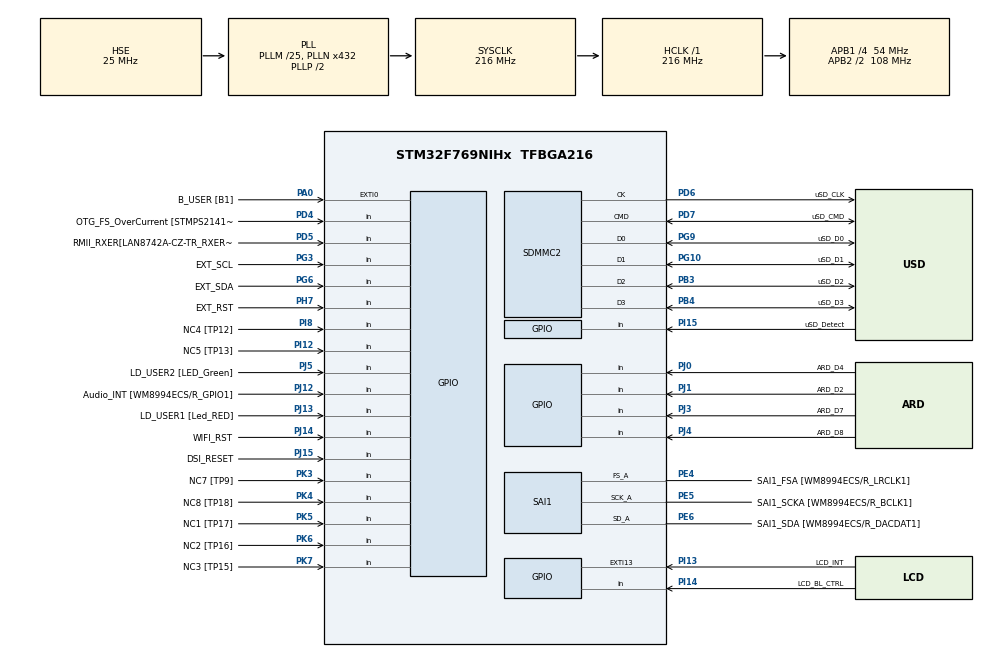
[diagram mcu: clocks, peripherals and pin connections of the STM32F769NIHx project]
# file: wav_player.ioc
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DSIHOST_CKN.GPIO_Label=DSI_CK_N
DSIHOST_CKN.Signal=DSIHOST_CKN
DSIHOST_CKP.GPIO_Label=DSI_CK_P
DSIHOST_CKP.Signal=DSIHOST_CKP
DSIHOST_D0N.GPIO_Label=DSI_D0_N
DSIHOST_D0N.Signal=DSIHOST_D0N
DSIHOST_D0P.GPIO_Label=DSI_D0_p
DSIHOST_D0P.Signal=DSIHOST_D0P
DSIHOST_D1N.GPIO_Label=DSI_D1_N
DSIHOST_D1N.Signal=DSIHOST_D1N
DSIHOST_D1P.GPIO_Label=DSI_D1_P
DSIHOST_D1P.Signal=DSIHOST_D1P
Dma.Request0=SDMMC2_RX
Dma.Request1=SDMMC2_TX
Dma.Request2=SAI1_A
Dma.SAI1_A.2.Direction=DMA_MEMORY_TO_PERIPH
Dma.SAI1_A.2.FIFOMode=DMA_FIFOMODE_DISABLE
Dma.SAI1_A.2.Instance=DMA2_Stream1
Dma.SAI1_A.2.MemDataAlignment=DMA_MDATAALIGN_HALFWORD
Dma.SAI1_A.2.MemInc=DMA_MINC_ENABLE
Dma.SAI1_A.2.Mode=DMA_CIRCULAR
Dma.SAI1_A.2.PeriphDataAlignment=DMA_PDATAALIGN_HALFWORD
Dma.SAI1_A.2.PeriphInc=DMA_PINC_DISABLE
Dma.SAI1_A.2.Priority=DMA_PRIORITY_LOW
Dma.SDMMC2_RX.0.Direction=DMA_PERIPH_TO_MEMORY
Dma.SDMMC2_RX.0.FIFOMode=DMA_FIFOMODE_ENABLE
Dma.SDMMC2_RX.0.FIFOThreshold=DMA_FIFO_THRESHOLD_FULL
Dma.SDMMC2_RX.0.Instance=DMA2_Stream0
Dma.SDMMC2_RX.0.MemBurst=DMA_MBURST_INC4
Dma.SDMMC2_RX.0.MemDataAlignment=DMA_MDATAALIGN_WORD
Dma.SDMMC2_RX.0.MemInc=DMA_MINC_ENABLE
Dma.SDMMC2_RX.0.Mode=DMA_PFCTRL
Dma.SDMMC2_RX.0.PeriphBurst=DMA_PBURST_INC4
Dma.SDMMC2_RX.0.PeriphDataAlignment=DMA_PDATAALIGN_WORD
Dma.SDMMC2_RX.0.PeriphInc=DMA_PINC_DISABLE
Dma.SDMMC2_RX.0.Priority=DMA_PRIORITY_LOW
Dma.SDMMC2_TX.1.Direction=DMA_MEMORY_TO_PERIPH
Dma.SDMMC2_TX.1.FIFOMode=DMA_FIFOMODE_ENABLE
Dma.SDMMC2_TX.1.FIFOThreshold=DMA_FIFO_THRESHOLD_FULL
Dma.SDMMC2_TX.1.Instance=DMA2_Stream5
Dma.SDMMC2_TX.1.MemBurst=DMA_MBURST_INC4
Dma.SDMMC2_TX.1.MemDataAlignment=DMA_MDATAALIGN_WORD
Dma.SDMMC2_TX.1.MemInc=DMA_MINC_ENABLE
Dma.SDMMC2_TX.1.Mode=DMA_PFCTRL
Dma.SDMMC2_TX.1.PeriphBurst=DMA_PBURST_INC4
Dma.SDMMC2_TX.1.PeriphDataAlignment=DMA_PDATAALIGN_WORD
Dma.SDMMC2_TX.1.PeriphInc=DMA_PINC_DISABLE
Dma.SDMMC2_TX.1.Priority=DMA_PRIORITY_LOW
FATFS.BSP.number=1
FATFS.USE_DMA_CODE_SD=1
FATFS._LFN_UNICODE=0
FATFS._USE_LFN=3
FATFS._USE_MUTEX=1
FATFS0.BSP.STBoard=false
FATFS0.BSP.api=Unknown
FATFS0.BSP.i2caddr=0
FATFS0.BSP.instance=PI15
FATFS0.BSP.ip=GPIO
FATFS0.BSP.mode=Input
FATFS0.BSP.name=Detect_SDIO
FATFS0.BSP.solution=PI15
FREERTOS.Tasks01=defaultTask,24,2048,StartDefaultTask,Default,NULL,Dynamic,NULL,NULL
FREERTOS.configUSE_NEWLIB_REENTRANT=1
Mcu.Family=STM32F7
Mcu.Name=STM32F769NIHx
Mcu.Package=TFBGA216
NVIC.DMA2_Stream0_IRQn=true\:5\:0\:false\:false\:true\:true\:false\:true
NVIC.DMA2_Stream1_IRQn=true\:5\:0\:false\:false\:true\:true\:false\:true
NVIC.DMA2_Stream5_IRQn=true\:5\:0\:false\:false\:true\:true\:false\:true
NVIC.PriorityGroup=NVIC_PRIORITYGROUP_4
NVIC.SAI1_IRQn=true\:5\:0\:false\:false\:true\:true\:true\:true
NVIC.SDMMC2_IRQn=true\:5\:0\:false\:false\:true\:true\:true\:true
NVIC.TIM6_DAC_IRQn=true\:15\:0\:false\:false\:true\:false\:false\:true
NVIC.TimeBase=TIM6_DAC_IRQn
NVIC.TimeBaseIP=TIM6
PA0/WKUP.GPIO_Label=B_USER [B1]
PA0/WKUP.Signal=GPXTI0
PA1.GPIO_Label=RMII_REF_CLK [LAN8742A-CZ-TR_REFCLK0]
PA1.Signal=ETH_REF_CLK
PA10.GPIO_Label=VCP_RX 
PA10.Signal=USART1_RX
PA11.GPIO_Label=SPI2_NSS
PA11.Signal=SPI2_NSS
PA12.GPIO_Label=ARD_D13/SCK
PA12.GPIO_Mode=GPIO_MODE_AF_PP
PA12.GPIO_PuPd=GPIO_NOPULL
PA12.GPIO_Speed=GPIO_SPEED_FREQ_LOW
PA12.Signal=SPI2_SCK
PA13.GPIO_Label=SWDIO
PA13.Signal=SYS_JTMS-SWDIO
PA14.GPIO_Label=SWCLK
PA14.Signal=SYS_JTCK-SWCLK
PA15.GPIO_Label=CEC
PA15.Signal=CEC
PA2.GPIO_Label=RMII_MDIO [LAN8742A-CZ-TR_MDIO]
PA2.Signal=ETH_MDIO
PA3.GPIO_Label=ULPI_D0 [USB3320C-EZK_D0]
PA3.Signal=USB_OTG_HS_ULPI_D0
PA4.GPIO_Label=ARD_A1
PA4.Signal=ADCx_IN4
PA5.GPIO_Label=ULPI_CLK [USB3320C-EZK_CLKOUT]
PA5.Signal=USB_OTG_HS_ULPI_CK
PA6.GPIO_Label=ARD_A0
PA6.Signal=ADCx_IN6
PA7.GPIO_Label=RMII_CRS_DV [LAN8742A-CZ-TR_CRS_DV]
PA7.Signal=ETH_CRS_DV
PA8.GPIO_Label=CEC_CLK [TP2]
PA8.Signal=RCC_MCO_1
PA9.GPIO_Label=VCP_TX [STM32F103CBT6_PA3]
PA9.GPIO_Mode=GPIO_MODE_AF_PP
PA9.GPIO_PuPd=GPIO_NOPULL
PA9.GPIO_Speed=GPIO_SPEED_FREQ_LOW
PA9.Signal=USART1_TX
PB0.GPIO_Label=ULPI_D1 [USB3320C-EZK_D1]
PB0.Signal=USB_OTG_HS_ULPI_D1
PB1.GPIO_Label=ULPI_D2 [USB3320C-EZK_D2]
PB1.Signal=USB_OTG_HS_ULPI_D2
PB10.GPIO_Label=ULPI_D3 [USB3320C-EZK_D3]
PB10.Signal=USB_OTG_HS_ULPI_D3
PB11.GPIO_Label=ULPI_D4 [USB3320C-EZK_D4]
PB11.Signal=USB_OTG_HS_ULPI_D4
PB12.GPIO_Label=ULPI_D5 [USB3320C-EZK_D5]
PB12.Signal=USB_OTG_HS_ULPI_D5
PB13.GPIO_Label=ULPI_D6 [USB3320C-EZK_D6]
PB13.Signal=USB_OTG_HS_ULPI_D6
PB14.GPIO_Label=ARDUINO MISO/D12
PB14.GPIO_Mode=GPIO_MODE_AF_PP
PB14.GPIO_PuPd=GPIO_NOPULL
PB14.GPIO_Speed=GPIO_SPEED_FREQ_LOW
PB14.Signal=SPI2_MISO
PB15.GPIO_Label=ARDUINO MOSI/PWM/D11
PB15.GPIO_Mode=GPIO_MODE_AF_PP
PB15.GPIO_PuPd=GPIO_NOPULL
PB15.GPIO_Speed=GPIO_SPEED_FREQ_LOW
PB15.Signal=SPI2_MOSI
PB2.Signal=QUADSPI_CLK
PB3.GPIO_Label=uSD_D2
PB3.Mode=SD_4_bits_Wide_bus
PB3.Signal=SDMMC2_D2
PB4.GPIO_Label=uSD_D3
PB4.Mode=SD_4_bits_Wide_bus
PB4.Signal=SDMMC2_D3
PB5.GPIO_Label=ULPI_D7 [USB3320C-EZK_D7]
PB5.Signal=USB_OTG_HS_ULPI_D7
PB6.GPIO_Label=QSPI_NCS [N25Q128A13EF840E_S]
PB6.Signal=QUADSPI_BK1_NCS
PB7.GPIO_Label=AUDIO_SDA [WM8994ECS/R_SDA]
PB7.Signal=I2C4_SDA
PB8.GPIO_Label=ARDUINO SCL/D15
PB8.GPIO_Mode=GPIO_MODE_AF_OD
PB8.GPIO_PuPd=GPIO_NOPULL
PB8.GPIO_Speed=GPIO_SPEED_FREQ_LOW
PB8.Signal=I2C1_SCL
PB9.GPIO_Label=ARDUINO SDA/D14
PB9.GPIO_Mode=GPIO_MODE_AF_OD
PB9.GPIO_PuPd=GPIO_NOPULL
PB9.GPIO_Speed=GPIO_SPEED_FREQ_LOW
PB9.Signal=I2C1_SDA
PC0.GPIO_Label=ULPI_STP [USB3320C-EZK_STP]
PC0.Signal=USB_OTG_HS_ULPI_STP
PC1.GPIO_Label=RMII_MDC [LAN8742A-CZ-TR_MDC]
PC1.Signal=ETH_MDC
PC10.GPIO_Label=QSPI_D1 [MT25QL512ABB1EW9_DQ1]
PC10.Signal=QUADSPI_BK1_IO1
PC11.GPIO_Label=DFSDM_DATIN5 [TP100]
PC11.Signal=S_DATAIN5DFSDM1
PC12.GPIO_Label=WIFI_RX
PC12.Signal=UART5_TX
PC14/OSC32_IN.GPIO_Label=RCC_OSC32_IN
PC14/OSC32_IN.Signal=RCC_OSC32_IN
PC15/OSC32_OUT.GPIO_Label=RCC_OSC32_OUT
PC15/OSC32_OUT.Signal=RCC_OSC32_OUT
PC2.GPIO_Label=ARD_A2
PC2.Signal=ADCx_IN12
PC3.GPIO_Label=DFSDM_DATIN1 [TP101]
PC3.Signal=S_DATAIN1DFSDM1
PC4.GPIO_Label=RMII_RXD0 [LAN8742A-CZ-TR_RXD0]
PC4.Signal=ETH_RXD0
PC5.GPIO_Label=RMII_RXD1 [LAN8742A-CZ-TR_RXD1]
PC5.Signal=ETH_RXD1
PC6.GPIO_Label=ARDUINO TX/D1
PC6.Signal=USART6_TX
PC7.GPIO_Label=ARD_D0/RX
PC7.Signal=USART6_RX
PC8.GPIO_Label=ARD_D5/PWM
PC8.Signal=S_TIM3_CH3
PC9.GPIO_Label=QSPI_D0 [N25Q128A13EF840E_DQ0]
PC9.Signal=QUADSPI_BK1_IO0
PD0.GPIO_Label=FMC_D2 [MT48LC4M32B2B5-6A_DQ2]
PD0.Signal=FMC_D2_DA2
PD1.GPIO_Label=FMC_D3 [MT48LC4M32B2B5-6A_DQ3]
PD1.Signal=FMC_D3_DA3
PD10.GPIO_Label=FMC_D15 [MT48LC4M32B2B5-6A_DQ15]
PD10.Signal=FMC_D15_DA15
PD11.GPIO_Label=SPDIF_TX [TP20]
PD11.Signal=SAI2_SD_A
PD12.GPIO_Label=AUDIO_SCL [WM8994ECS/R_SCLK]
PD12.Signal=I2C4_SCL
PD13.GPIO_Label=QSPI_D3 [N25Q128A13EF840E_DQ3]
PD13.Signal=QUADSPI_BK1_IO3
PD14.GPIO_Label=FMC_D0 [MT48LC4M32B2B5-6A_DQ0]
PD14.Signal=FMC_D0_DA0
PD15.GPIO_Label=FMC_D1 [MT48LC4M32B2B5-6A_DQ1]
PD15.Signal=FMC_D1_DA1
PD2.GPIO_Label=WIFI_TX
PD2.Signal=UART5_RX
PD3.GPIO_Label=DFSDM_CKOUT [TP102]
PD3.Signal=S_CKOUTDFSDM1
PD4.GPIO_Label=OTG_FS_OverCurrent [STMPS2141STR_Fault]
PD4.Signal=GPIO_Input
PD5.GPIO_Label=RMII_RXER[LAN8742A-CZ-TR_RXERR]
PD5.Signal=GPIO_Input
PD6.GPIO_Label=uSD_CLK
PD6.Mode=SD_4_bits_Wide_bus
PD6.Signal=SDMMC2_CK
PD7.GPIO_Label=uSD_CMD
PD7.Mode=SD_4_bits_Wide_bus
PD7.Signal=SDMMC2_CMD
PD8.GPIO_Label=FMC_D13 [MT48LC4M32B2B5-6A_DQ13]
PD8.Signal=FMC_D13_DA13
PD9.GPIO_Label=FMC_D14 [MT48LC4M32B2B5-6A_DQ14]
PD9.Signal=FMC_D14_DA14
PE0.GPIO_Label=FMC_NBL0 [MT48LC4M32B2B5-6A_DQM0]
PE0.Signal=FMC_NBL0
PE1.GPIO_Label=FMC_NBL1 [MT48LC4M32B2B5-6A_DQM1]
PE1.Signal=FMC_NBL1
PE10.GPIO_Label=FMC_D7 [MT48LC4M32B2B5-6A_DQ7]
PE10.Signal=FMC_D7_DA7
PE11.GPIO_Label=FMC_D8 [MT48LC4M32B2B5-6A_DQ8]
PE11.Signal=FMC_D8_DA8
PE12.GPIO_Label=FMC_D9 [MT48LC4M32B2B5-6A_DQ9]
PE12.Signal=FMC_D9_DA9
PE13.GPIO_Label=FMC_D10 [MT48LC4M32B2B5-6A_DQ10]
PE13.Signal=FMC_D10_DA10
PE14.GPIO_Label=FMC_D11 [MT48LC4M32B2B5-6A_DQ11]
PE14.Signal=FMC_D11_DA11
PE15.GPIO_Label=FMC_D12 [MT48LC4M32B2B5-6A_DQ12]
PE15.Signal=FMC_D12_DA12
PE2.GPIO_Label=QSPI_D2 [N25Q128A13EF840E_DQ2]
PE2.Signal=QUADSPI_BK1_IO2
PE3.GPIO_Label=SAI1_SDB [WM8994ECS/R_ADCDAT1]
PE3.Signal=SAI1_SD_B
PE4.GPIO_Label=SAI1_FSA [WM8994ECS/R_LRCLK1]
PE4.Mode=SAI_A_Master
PE4.Signal=SAI1_FS_A
PE5.GPIO_Label=SAI1_SCKA [WM8994ECS/R_BCLK1]
PE5.Mode=SAI_A_Master
PE5.Signal=SAI1_SCK_A
PE6.GPIO_Label=SAI1_SDA [WM8994ECS/R_DACDAT1]
PE6.Mode=SAI_A_Master
PE6.Signal=SAI1_SD_A
PE7.GPIO_Label=FMC_D4 [MT48LC4M32B2B5-6A_DQ4]
PE7.Signal=FMC_D4_DA4
PE8.GPIO_Label=FMC_D5 [MT48LC4M32B2B5-6A_DQ5]
PE8.Signal=FMC_D5_DA5
PE9.GPIO_Label=FMC_D6 [MT48LC4M32B2B5-6A_DQ6]
PE9.Signal=FMC_D6_DA6
PF0.GPIO_Label=FMC_A0 [MT48LC4M32B2B5-6A_A0]
PF0.Signal=FMC_A0
PF1.GPIO_Label=FMC_A1 [MT48LC4M32B2B5-6A_A1]
PF1.Signal=FMC_A1
PF10.GPIO_Label=ARDUINO A1
PF10.GPIO_Mode=GPIO_MODE_ANALOG
PF10.GPIO_PuPd=GPIO_NOPULL
PF10.Signal=ADC3_IN8
PF11.GPIO_Label=FMC_SDNRAS [MT48LC4M32B2B5-6A_RAS]
PF11.Signal=FMC_SDNRAS
PF12.GPIO_Label=FMC_A6 [MT48LC4M32B2B5-6A_A6]
PF12.Signal=FMC_A6
PF13.GPIO_Label=FMC_A7 [MT48LC4M32B2B5-6A_A7]
PF13.Signal=FMC_A7
PF14.GPIO_Label=FMC_A8 [MT48LC4M32B2B5-6A_A8]
PF14.Signal=FMC_A8
PF15.GPIO_Label=FMC_A9 [MT48LC4M32B2B5-6A_A9]
PF15.Signal=FMC_A9
PF2.GPIO_Label=FMC_A2 [MT48LC4M32B2B5-6A_A2]
PF2.Signal=FMC_A2
PF3.GPIO_Label=FMC_A3 [MT48LC4M32B2B5-6A_A3]
PF3.Signal=FMC_A3
PF4.GPIO_Label=FMC_A4 [MT48LC4M32B2B5-6A_A4]
PF4.Signal=FMC_A4
PF5.GPIO_Label=FMC_A5 [MT48LC4M32B2B5-6A_A5]
PF5.Signal=FMC_A5
PF6.GPIO_Label=ARD_D3/PWM
PF6.Signal=S_TIM10_CH1
PF7.GPIO_Label=ARD_D6/PWM
PF7.Signal=S_TIM11_CH1
PF8.GPIO_Label=ARDUINO A3
PF8.GPIO_Mode=GPIO_MODE_ANALOG
PF8.GPIO_PuPd=GPIO_NOPULL
PF8.Signal=ADC3_IN6
PF9.GPIO_Label=ARDUINO A2
PF9.GPIO_Mode=GPIO_MODE_ANALOG
PF9.GPIO_PuPd=GPIO_NOPULL
PF9.Signal=ADC3_IN7
PG0.GPIO_Label=FMC_A10 [MT48LC4M32B2B5-6A_A10]
PG0.Signal=FMC_A10
PG1.GPIO_Label=FMC_A11 [MT48LC4M32B2B5-6A_A11]
PG1.Signal=FMC_A11
PG10.GPIO_Label=uSD_D1
PG10.Mode=SD_4_bits_Wide_bus
PG10.Signal=SDMMC2_D1
PG11.GPIO_Label=RMII_TX_EN [LAN8742A-CZ-TR_TXEN]
PG11.Signal=ETH_TX_EN
PG12.GPIO_Label=SPDIF_RX [74LVC1G04SE_4]
PG12.Signal=SPDIFRX_IN1
PG13.GPIO_Label=RMII_TXD0 [LAN8742A-CZ-TR_TXD0]
PG13.Signal=ETH_TXD0
PG14.GPIO_Label=RMII_TXD1 [LAN8742A-CZ-TR_TXD1]
PG14.Signal=ETH_TXD1
PG15.GPIO_Label=FMC_SDNCAS [MT48LC4M32B2B5-6A_CAS]
PG15.Signal=FMC_SDNCAS
PG2.GPIO_Label=FMC_A12
PG2.Signal=FMC_A12
PG3.GPIO_Label=EXT_SCL
PG3.Signal=GPIO_Input
PG4.GPIO_Label=FMC_BA0 [MT48LC4M32B2B5-6A_BA0]
PG4.Signal=FMC_A14_BA0
PG5.GPIO_Label=FMC_BA1 [MT48LC4M32B2B5-6A_BA1]
PG5.Signal=FMC_A15_BA1
PG6.GPIO_Label=EXT_SDA
PG6.Signal=GPIO_Input
PG7.GPIO_Label=SAI1_MCLKA [WM8994ECS/R_MCLK1]
PG7.Signal=SAI1_MCLK_A
PG8.GPIO_Label=FMC_SDCLK [MT48LC4M32B2B5-6A_CLK]
PG8.Signal=FMC_SDCLK
PG9.GPIO_Label=uSD_D0
PG9.Mode=SD_4_bits_Wide_bus
PG9.Signal=SDMMC2_D0
PH0/OSC_IN.GPIO_Label=OSC_25M [NZ2520SB-25.00M_OUT]
PH0/OSC_IN.Mode=HSE-External-Oscillator
PH0/OSC_IN.Signal=RCC_OSC_IN
PH1/OSC_OUT.Mode=HSE-External-Oscillator
PH1/OSC_OUT.Signal=RCC_OSC_OUT
PH10.GPIO_Label=FMC_D18 [MT48LC4M32B2B5-6A_DQ18]
PH10.Signal=FMC_D18
PH11.GPIO_Label=FMC_D19 [MT48LC4M32B2B5-6A_DQ19]
PH11.Signal=FMC_D19
PH12.GPIO_Label=D20
PH12.Signal=FMC_D20
PH13.GPIO_Label=D21
PH13.Signal=FMC_D21
PH14.GPIO_Label=D22
PH14.Signal=FMC_D22
PH15.GPIO_Label=D23
PH15.Signal=FMC_D23
PH2.GPIO_Label=FMC_SDCKE0 [MT48LC4M32B2B5-6A_CKE]
PH2.Signal=FMC_SDCKE0
PH3.GPIO_Label=FMC_SDNE0 [MT48LC4M32B2B5-6A_CS]
PH3.Signal=FMC_SDNE0
PH4.GPIO_Label=ULPI_NXT [USB3320C-EZK_NXT]
PH4.Signal=USB_OTG_HS_ULPI_NXT
PH5.GPIO_Label=FMC_SDNME [MT48LC4M32B2B5-6A_WE]
PH5.Signal=FMC_SDNWE
PH6.GPIO_Label=ARDUINO PWM/D6
PH6.Signal=S_TIM12_CH1
PH7.GPIO_Label=EXT_RST
PH7.Signal=GPIO_Input
PH8.GPIO_Label=FMC_D16 [MT48LC4M32B2B5-6A_DQ16]
PH8.Signal=FMC_D16
PH9.GPIO_Label=FMC_D\!7 [MT48LC4M32B2B5-6A_DQ17]
PH9.Signal=FMC_D17
PI0.GPIO_Label=D24
PI0.Signal=FMC_D24
PI1.GPIO_Label=D25
PI1.Signal=FMC_D25
PI10.GPIO_Label=D31
PI10.Signal=FMC_D31
PI11.GPIO_Label=ULPI_DIR [USB3320C-EZK_DIR]
PI11.Signal=USB_OTG_HS_ULPI_DIR
PI12.GPIO_Label=NC5 [TP13]
PI12.Signal=GPIO_Input
PI13.GPIO_Label=LCD_INT
PI13.GPIO_ModeDefaultEXTI=GPIO_MODE_EVT_RISING
PI13.Signal=GPXTI13
PI14.GPIO_Label=LCD_BL_CTRL
PI14.Signal=GPIO_Input
PI15.GPIO_Label=uSD_Detect
PI15.GPIO_PuPd=GPIO_PULLUP
PI15.Signal=GPIO_Input
PI2.GPIO_Label=D26
PI2.Signal=FMC_D26
PI3.GPIO_Label=D27
PI3.Signal=FMC_D27
PI4.GPIO_Label=FMC_NBL2 [MT48LC4M32B2B5-6A_DQM2]
PI4.Signal=FMC_NBL2
PI5.GPIO_Label=FMC_NBL3 [MT48LC4M32B2B5-6A_DQM3]
PI5.Signal=FMC_NBL3
PI6.GPIO_Label=D28
PI6.Signal=FMC_D28
PI7.GPIO_Label=D29
PI7.Signal=FMC_D29
PI8.GPIO_Label=NC4 [TP12]
PI8.Signal=GPIO_Input
PI9.GPIO_Label=D30
PI9.Signal=FMC_D30
PJ0.GPIO_Label=ARD_D4
PJ0.Signal=GPIO_Input
PJ1.GPIO_Label=ARD_D2
PJ1.Signal=GPIO_Input
PJ12.GPIO_Label=Audio_INT [WM8994ECS/R_GPIO1]
PJ12.Signal=GPIO_Input
PJ13.GPIO_Label=LD_USER1 [Led_RED]
PJ13.Signal=GPIO_Input
PJ14.GPIO_Label=WIFI_RST
PJ14.Signal=GPIO_Input
PJ15.GPIO_Label=DSI_RESET
PJ15.Signal=GPIO_Input
PJ2.GPIO_Label=DSIHOST_TE
PJ2.Signal=DSIHOST_TE
PJ3.GPIO_Label=ARD_D7
PJ3.Signal=GPIO_Input
PJ4.GPIO_Label=ARD_D8
PJ4.Signal=GPIO_Input
PJ5.GPIO_Label=LD_USER2 [LED_Green]
PJ5.Signal=GPIO_Input
PK3.GPIO_Label=NC7 [TP9]
PK3.Signal=GPIO_Input
PK4.GPIO_Label=NC8 [TP18]
PK4.Signal=GPIO_Input
PK5.GPIO_Label=NC1 [TP17]
PK5.Signal=GPIO_Input
PK6.GPIO_Label=NC2 [TP16]
PK6.Signal=GPIO_Input
PK7.GPIO_Label=NC3 [TP15]
PK7.Signal=GPIO_Input
ProjectManager.HeapSize=0x400
ProjectManager.StackSize=0x800
ProjectManager.TargetToolchain=STM32CubeIDE
RCC.AHBFreq_Value=216000000
RCC.APB1CLKDivider=RCC_HCLK_DIV4
RCC.APB1Freq_Value=54000000
RCC.APB1TimFreq_Value=108000000
RCC.APB2CLKDivider=RCC_HCLK_DIV2
RCC.APB2Freq_Value=108000000
RCC.APB2TimFreq_Value=216000000
RCC.CortexFreq_Value=216000000
RCC.HCLKFreq_Value=216000000
RCC.HSE_VALUE=25000000
RCC.HSI_VALUE=16000000
RCC.LSE_VALUE=32768
RCC.PLLI2SN=344
RCC.PLLI2SQ=7
RCC.PLLM=25
RCC.PLLN=432
RCC.PLLQ=9
RCC.PLLSAIQ=4
RCC.PLLSourceVirtual=RCC_PLLSOURCE_HSE
RCC.SAI1CLockSelection=RCC_SAI1CLKSOURCE_PLLI2S
RCC.SDMMC2ClockSelection=RCC_SDMMC2CLKSOURCE_CLK48
RCC.SYSCLKFreq_VALUE=216000000
RCC.SYSCLKSource=RCC_SYSCLKSOURCE_PLLCLK
RCC.USBFreq_Value=48000000
RCC.VCOOutputFreq_Value=432000000
SAI1.AudioFrequency-SAI_A_Master=SAI_AUDIO_FREQUENCY_48K
SAI1.ErrorAudioFreq-SAI_A_Master=-2.92 %
SAI1.InitProtocol-SAI_A_Master=Enable
SAI1.Instance-SAI_A_Master=SAI$Index_Block_A
SAI1.MClockEnable-SAI_A_Master=SAI_MASTERCLOCK_DISABLE
SAI1.RealAudioFreq-SAI_A_Master=46.595 KHz
SAI1.VirtualMode-SAI_A_Master=VM_MASTER
SAI1.VirtualProtocol-SAI_A_BASIC=VM_BASIC_PROTOCOL
SH.ADCx_IN12.0=ADC1_IN12
SH.ADCx_IN4.0=ADC1_IN4
SH.ADCx_IN6.0=ADC1_IN6
SH.FMC_A0.0=FMC_A0
SH.FMC_A1.0=FMC_A1
SH.FMC_A10.0=FMC_A10
SH.FMC_A11.0=FMC_A11
SH.FMC_A12.0=FMC_A12
SH.FMC_A14_BA0.0=FMC_BA0
SH.FMC_A15_BA1.0=FMC_BA1
SH.FMC_A2.0=FMC_A2
SH.FMC_A3.0=FMC_A3
SH.FMC_A4.0=FMC_A4
SH.FMC_A5.0=FMC_A5
SH.FMC_A6.0=FMC_A6
SH.FMC_A7.0=FMC_A7
SH.FMC_A8.0=FMC_A8
SH.FMC_A9.0=FMC_A9
SH.FMC_D0_DA0.0=FMC_D0
SH.FMC_D10_DA10.0=FMC_D10
SH.FMC_D11_DA11.0=FMC_D11
SH.FMC_D12_DA12.0=FMC_D12
SH.FMC_D13_DA13.0=FMC_D13
SH.FMC_D14_DA14.0=FMC_D14
SH.FMC_D15_DA15.0=FMC_D15
SH.FMC_D16.0=FMC_D16
SH.FMC_D17.0=FMC_D17
SH.FMC_D18.0=FMC_D18
SH.FMC_D19.0=FMC_D19
SH.FMC_D1_DA1.0=FMC_D1
SH.FMC_D20.0=FMC_D20
SH.FMC_D21.0=FMC_D21
SH.FMC_D22.0=FMC_D22
SH.FMC_D23.0=FMC_D23
SH.FMC_D24.0=FMC_D24
SH.FMC_D25.0=FMC_D25
SH.FMC_D26.0=FMC_D26
SH.FMC_D27.0=FMC_D27
SH.FMC_D28.0=FMC_D28
SH.FMC_D29.0=FMC_D29
SH.FMC_D2_DA2.0=FMC_D2
SH.FMC_D30.0=FMC_D30
SH.FMC_D31.0=FMC_D31
SH.FMC_D3_DA3.0=FMC_D3
SH.FMC_D4_DA4.0=FMC_D4
SH.FMC_D5_DA5.0=FMC_D5
SH.FMC_D6_DA6.0=FMC_D6
SH.FMC_D7_DA7.0=FMC_D7
SH.FMC_D8_DA8.0=FMC_D8
SH.FMC_D9_DA9.0=FMC_D9
SH.FMC_NBL0.0=FMC_NBL0
SH.FMC_NBL1.0=FMC_NBL1
SH.FMC_NBL2.0=FMC_NBL2
SH.FMC_NBL3.0=FMC_NBL3
SH.FMC_SDCLK.0=FMC_SDCLK
SH.FMC_SDNCAS.0=FMC_SDNCAS
SH.FMC_SDNRAS.0=FMC_SDNRAS
SH.FMC_SDNWE.0=FMC_SDNWE
SH.S_CKOUTDFSDM1.0=DFSDM1_CKOUT
SH.S_DATAIN1DFSDM1.0=DFSDM1_DATIN1
SH.S_DATAIN5DFSDM1.0=DFSDM1_DATIN5
SH.S_TIM10_CH1.0=TIM10_CH1
SH.S_TIM11_CH1.0=TIM11_CH1
SH.S_TIM12_CH1.0=TIM12_CH1
SH.S_TIM3_CH3.0=TIM3_CH3
VP_FATFS_VS_SDIO.Mode=SDIO
VP_FREERTOS_VS_CMSIS_V2.Mode=CMSIS_V2
VP_SAI1_VP_$IpInstance_SAIA_SAI_BASIC.Mode=SAI_A_BASIC
VP_SYS_VS_tim6.Mode=TIM6
board=STM32F769I-DISCO

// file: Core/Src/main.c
/* USER CODE BEGIN Header */
/**
 ******************************************************************************
 * @file           : main.c
 * @brief          : Main program body
 ******************************************************************************
 * @attention
 *
 * Copyright (c) 2022 STMicroelectronics.
 * All rights reserved.
 *
 * This software is licensed under terms that can be found in the LICENSE file
 * in the root directory of this software component.
 * If no LICENSE file comes with this software, it is provided AS-IS.
 *
 ******************************************************************************
 */
/* USER CODE END Header */
#include "main.h"
#include "cmsis_os.h"
#include "fatfs.h"

/* USER CODE BEGIN Includes */
#include "bitmaps.h"
/* USER CODE END Includes */

SAI_HandleTypeDef hsai_BlockA1;
DMA_HandleTypeDef hdma_sai1_a;

SD_HandleTypeDef hsd2;
DMA_HandleTypeDef hdma_sdmmc2_rx;
DMA_HandleTypeDef hdma_sdmmc2_tx;

/* Definitions for defaultTask */

/* USER CODE BEGIN PV */
osThreadId_t wavTaskHandle;
const osThreadAttr_t wavTask_attributes = { .name = "wavTask", .stack_size = 512
		* 4, .priority = (osPriority_t) osPriorityHigh, };

osThreadId_t guiTaskHandle;
const osThreadAttr_t guiTask_attributes = { .name = "guiTask", .stack_size = 512
		* 4, .priority = (osPriority_t) osPriorityNormal, };

osThreadId_t touchScreenTaskHandle;
const osThreadAttr_t touchScreenTask_attributes = { .name = "touchScreenTask",
		.stack_size = 512 * 4, .priority = (osPriority_t) osPriorityNormal, };

osThreadId_t animateTitlesTaskHandle;
const osThreadAttr_t animateTitlesTask_attributes = { .name =
		"animateTitlesTask", .stack_size = 512 * 4, .priority =
		(osPriority_t) osPriorityLow, };

uint8_t lcd_status = LCD_OK;
uint32_t ts_status = TS_OK;
TS_StateTypeDef TS_State = { 0 };

int numberOfTracks;
GUI_TrackTypeDef *tracks;
GUI_TrackControlTypeDef trackControl;
GUI_ViewControlTypeDef viewControl;
GUI_ProgressBarTypedef progressBar;
Screen *screen;

osMutexId_t wav_mutex;
const osMutexAttr_t wavMutex_attributes = { .name = "wavMutex" };
/* USER CODE END PV */

void SystemClock_Config(void);
static void MX_SDMMC2_SD_Init(void);
/* USER CODE BEGIN PFP */
void StartGuiTask(void *args);
void StartTouchScreenTask(void *args);
void StartAnimateTitlesTask(void *args);
void StartWavTask(void *args);
/* USER CODE END PFP */

int main(void) {

	/* MCU Configuration--------------------------------------------------------*/

	/* Reset of all peripherals, Initializes the Flash interface and the Systick. */
	HAL_Init();

	/* Configure the system clock */
	SystemClock_Config();

	/* Initialize all configured peripherals */
	MX_SDMMC2_SD_Init();
	MX_FATFS_Init();
	/* USER CODE BEGIN 2 */
	screen = Screen_init();

	ts_status = BSP_TS_Init(screen->width, screen->height);
	while (ts_status != TS_OK)
		;

	ts_status = BSP_TS_ITConfig();
	while (ts_status != TS_OK)
		;

	trackControl.volume = WAV_DEFAULT_VOLUME;

	trackControl.v_minus.x = 500;
	trackControl.v_minus.y = 50;
	trackControl.v_minus.height = GUI_CONTROLS_RECT_HEIGHT;
	trackControl.v_minus.width = GUI_CONTROLS_RECT_WIDTH;
	trackControl.v_minus.type = BTN_TRACK_CONTROL;
	trackControl.v_minus.icon = &v_down_icon[0];

	trackControl.v_plus.x = 650;
	trackControl.v_plus.y = 50;
	trackControl.v_plus.height = GUI_CONTROLS_RECT_HEIGHT;
	trackControl.v_plus.width = GUI_CONTROLS_RECT_WIDTH;
	trackControl.v_plus.type = BTN_TRACK_CONTROL;
	trackControl.v_plus.icon = &v_up_icon[0];

	trackControl.prev.x = 500;
	trackControl.prev.y = 150;
	trackControl.prev.height = GUI_CONTROLS_RECT_HEIGHT;
	trackControl.prev.width = GUI_CONTROLS_RECT_WIDTH;
	trackControl.prev.type = BTN_TRACK_CONTROL;
	trackControl.prev.icon = &prev_icon[0];

	trackControl.play.x = 575;
	trackControl.play.y = 150;
	trackControl.play.height = GUI_CONTROLS_RECT_HEIGHT;
	trackControl.play.width = GUI_CONTROLS_RECT_WIDTH;
	trackControl.play.type = BTN_TRACK_CONTROL;
	trackControl.play.icon = &play_icon[0];

	trackControl.next.x = 650;
	trackControl.next.y = 150;
	trackControl.next.height = GUI_CONTROLS_RECT_HEIGHT;
	trackControl.next.width = GUI_CONTROLS_RECT_WIDTH;
	trackControl.next.type = BTN_TRACK_CONTROL;
	trackControl.next.icon = &next_icon[0];

	viewControl.up.x = 400;
	viewControl.up.y = 50;
	viewControl.up.height = GUI_CONTROLS_RECT_HEIGHT;
	viewControl.up.width = GUI_CONTROLS_RECT_WIDTH;
	viewControl.up.type = BTN_VIEW_CONTROL;
	viewControl.up.icon = &arrow_up_icon[0];

	viewControl.down.x = 400;
	viewControl.down.y = 150;
	viewControl.down.height = GUI_CONTROLS_RECT_HEIGHT;
	viewControl.down.width = GUI_CONTROLS_RECT_WIDTH;
	viewControl.down.type = BTN_VIEW_CONTROL;
	viewControl.down.icon = &arrow_down_icon[0];

	WAV_init();

	wav_mutex = osMutexNew(&wavMutex_attributes);

	/* USER CODE END 2 */

	/* Init scheduler */
	osKernelInitialize();

	/* Create the thread(s) */
	/* creation of defaultTask */
	/* USER CODE BEGIN RTOS_THREADS */
	/* add threads, ... */
	wavTaskHandle = osThreadNew(StartWavTask, NULL, &wavTask_attributes);

	guiTaskHandle = osThreadNew(StartGuiTask, NULL, &guiTask_attributes);

	touchScreenTaskHandle = osThreadNew(StartTouchScreenTask, NULL,
			&touchScreenTask_attributes);

	animateTitlesTaskHandle = osThreadNew(StartAnimateTitlesTask, NULL,
			&animateTitlesTask_attributes);
	/* USER CODE END RTOS_THREADS */

	/* Start scheduler */
	osKernelStart();

	/* We should never get here as control is now taken by the scheduler */
	/* Infinite loop */
	while (1) {

	}
}

void SystemClock_Config(void) {
	RCC_OscInitTypeDef RCC_OscInitStruct = { 0 };
	RCC_ClkInitTypeDef RCC_ClkInitStruct = { 0 };

	/** Configure the main internal regulator output voltage
	 */
	__HAL_RCC_PWR_CLK_ENABLE();
	__HAL_PWR_VOLTAGESCALING_CONFIG(PWR_REGULATOR_VOLTAGE_SCALE1);
	/** Initializes the RCC Oscillators according to the specified parameters
	 * in the RCC_OscInitTypeDef structure.
	 */
	RCC_OscInitStruct.OscillatorType = RCC_OSCILLATORTYPE_HSE;
	RCC_OscInitStruct.HSEState = RCC_HSE_ON;
	RCC_OscInitStruct.PLL.PLLState = RCC_PLL_ON;
	RCC_OscInitStruct.PLL.PLLSource = RCC_PLLSOURCE_HSE;
	RCC_OscInitStruct.PLL.PLLM = 25;
	RCC_OscInitStruct.PLL.PLLN = 432;
	RCC_OscInitStruct.PLL.PLLP = RCC_PLLP_DIV2;
	RCC_OscInitStruct.PLL.PLLQ = 9;
	RCC_OscInitStruct.PLL.PLLR = 2;
	if (HAL_RCC_OscConfig(&RCC_OscInitStruct) != HAL_OK) {
		Error_Handler();
	}
	/** Activate the Over-Drive mode
	 */
	if (HAL_PWREx_EnableOverDrive() != HAL_OK) {
		Error_Handler();
	}
	/** Initializes the CPU, AHB and APB buses clocks
	 */
	RCC_ClkInitStruct.ClockType = RCC_CLOCKTYPE_HCLK | RCC_CLOCKTYPE_SYSCLK
			| RCC_CLOCKTYPE_PCLK1 | RCC_CLOCKTYPE_PCLK2;
	RCC_ClkInitStruct.SYSCLKSource = RCC_SYSCLKSOURCE_PLLCLK;
	RCC_ClkInitStruct.AHBCLKDivider = RCC_SYSCLK_DIV1;
	RCC_ClkInitStruct.APB1CLKDivider = RCC_HCLK_DIV4;
	RCC_ClkInitStruct.APB2CLKDivider = RCC_HCLK_DIV2;

	if (HAL_RCC_ClockConfig(&RCC_ClkInitStruct, FLASH_LATENCY_7) != HAL_OK) {
		Error_Handler();
	}
}

static void MX_SDMMC2_SD_Init(void) {

	hsd2.Instance = SDMMC2;
	hsd2.Init.ClockEdge = SDMMC_CLOCK_EDGE_RISING;
	hsd2.Init.ClockBypass = SDMMC_CLOCK_BYPASS_DISABLE;
	hsd2.Init.ClockPowerSave = SDMMC_CLOCK_POWER_SAVE_DISABLE;
	hsd2.Init.BusWide = SDMMC_BUS_WIDE_1B;
	hsd2.Init.HardwareFlowControl = SDMMC_HARDWARE_FLOW_CONTROL_DISABLE;
	hsd2.Init.ClockDiv = 0;

}

/* USER CODE BEGIN 4 */

/*
 * Render GUI
 */
void StartGuiTask(void *argument) {
	tracks = WAV_get_files(tracks, &numberOfTracks);

	for (;;) {
		Screen_flip_buffers(screen);
		BSP_LCD_Clear(LCD_COLOR_WHITE);

		GUI_render_tracks(tracks, numberOfTracks);
		GUI_render_button(&trackControl.v_minus, "");
		GUI_render_button(&trackControl.v_plus, "");
		GUI_render_button(&trackControl.play, "");
		GUI_render_button(&trackControl.prev, "");
		GUI_render_button(&trackControl.next, "");
		GUI_render_button(&viewControl.up, "");
		GUI_render_button(&viewControl.down, "");

		GUI_render_progress_bar(&progressBar);

		BSP_LCD_SetBackColor(LCD_COLOR_WHITE);
		BSP_LCD_SetTextColor(LCD_COLOR_BLACK);
		char volBuff[3];
		sprintf(volBuff, "%d", trackControl.volume);
		BSP_LCD_DisplayStringAt(
				BSP_LCD_GetXSize() - trackControl.v_minus.x
						- trackControl.v_minus.width * 2,
				trackControl.v_minus.y + 16, (uint8_t*) volBuff, RIGHT_MODE);
		osDelay(10);
	}
}

/*
 * Handle touch screen clicks
 */
void StartTouchScreenTask(void *argument) {
	for (;;) {
		BSP_TS_GetState(&TS_State);
		if (TS_State.touchDetected > 0) {
			int x = TS_State.touchX[0];
			int y = TS_State.touchY[0];

			// Track clicked
			for (int i = 0; i < numberOfTracks; i++) {
				if (GUI_button_clicked(x, y, &tracks[i].button)
						== 0&& tracks[i].displayIndex < GUI_VIEW_TRACKS) {
					if (osMutexWait(wav_mutex, 10) == osOK) {
						WAV_select_file(i, tracks, numberOfTracks,
								&progressBar);
						WAV_play(&trackControl);
						osMutexRelease(wav_mutex);
					}
					break;
				}
			}

			// Volume down
			if (GUI_button_clicked(x, y, &trackControl.v_minus) == 0) {
				if (trackControl.volume > 0
						&& trackControl.v_minus.state == BTN_NOT_PRESSED) {
					trackControl.volume -= 5;
					if (WAV_is_playing() == 0) {
						//WAV_pause();
						BSP_AUDIO_OUT_SetVolume((uint8_t) trackControl.volume);
						//WAV_resume();
					} else {
						BSP_AUDIO_OUT_SetVolume((uint8_t) trackControl.volume);
					}
					trackControl.v_minus.state = BTN_PRESSED;
				}
			}

			// Volume up
			if (GUI_button_clicked(x, y, &trackControl.v_plus) == 0) {
				if (trackControl.volume < 100
						&& trackControl.v_plus.state == BTN_NOT_PRESSED) {

					trackControl.volume += 5;
					if (WAV_is_playing() == 0) {
						//WAV_pause();
						BSP_AUDIO_OUT_SetVolume((uint8_t) trackControl.volume);
						//WAV_resume();
					} else {
						BSP_AUDIO_OUT_SetVolume((uint8_t) trackControl.volume);
					}
					trackControl.v_plus.state = BTN_PRESSED;
				}
			}

			// Play/pause
			if (GUI_button_clicked(x, y, &trackControl.play) == 0) {
				if (WAV_is_playing() == 0
						&& trackControl.play.state == BTN_NOT_PRESSED) {
					WAV_pause();
					trackControl.play.state = BTN_PRESSED;
				} else if (WAV_is_playing() == 1
						&& trackControl.play.state == BTN_NOT_PRESSED) {
					WAV_resume();
					trackControl.play.state = BTN_PRESSED;
				}
			}

			// Next
			if (GUI_button_clicked(x, y, &trackControl.next) == 0) {
				if (trackControl.next.state == BTN_NOT_PRESSED) {
					if (osMutexWait(wav_mutex, 10) == osOK) {
						WAV_next(tracks, &trackControl, numberOfTracks,
								&progressBar);
						trackControl.next.state = BTN_PRESSED;
						osMutexRelease(wav_mutex);
					}
				}
			}

			// Prev
			if (GUI_button_clicked(x, y, &trackControl.prev) == 0) {
				if (trackControl.prev.state == BTN_NOT_PRESSED) {
					if (osMutexWait(wav_mutex, 10) == osOK) {
						WAV_prev(tracks, &trackControl, numberOfTracks,
								&progressBar);
						trackControl.prev.state = BTN_PRESSED;
						osMutexRelease(wav_mutex);
					}
				}
			}

			// View Up
			if (GUI_button_clicked(x, y, &viewControl.up) == 0) {
				if (viewControl.up.state == BTN_NOT_PRESSED) {
					GUI_view_move_up(tracks, numberOfTracks);
					viewControl.up.state = BTN_PRESSED;
				}
			}

			// View down
			if (GUI_button_clicked(x, y, &viewControl.down) == 0) {
				if (viewControl.down.state == BTN_NOT_PRESSED) {
					GUI_view_move_down(tracks, numberOfTracks);
					viewControl.down.state = BTN_PRESSED;
				}
			}

			// Seek to
			int seekTo = GUI_seek(x, y, &progressBar);
			if (seekTo > 0 && progressBar.state == BTN_NOT_PRESSED) {
				WAV_seek(seekTo);
				progressBar.state = BTN_PRESSED;
			}

		} else {
			// Set all buttons to not pressed
			progressBar.state = BTN_NOT_PRESSED;
			viewControl.down.state = BTN_NOT_PRESSED;
			viewControl.up.state = BTN_NOT_PRESSED;
			trackControl.next.state = BTN_NOT_PRESSED;
			trackControl.prev.state = BTN_NOT_PRESSED;
			trackControl.play.state = BTN_NOT_PRESSED;
			trackControl.v_minus.state = BTN_NOT_PRESSED;
			trackControl.v_plus.state = BTN_NOT_PRESSED;
		}
		osDelay(5);
	}
}

/*
 * Animate scrolling titles
 */
void StartAnimateTitlesTask(void *args) {
	for (;;) {
		for (int i = 0; i < numberOfTracks; i++) {
			if (tracks[i].displayBuffPos
					< tracks[i].titleLen + GUI_VIEW_NUM_CHARS) {

				memset(tracks[i].displayBuff, 0, sizeof(tracks[i].displayBuff));

				strncpy(tracks[i].displayBuff,
						(char*) &tracks[i].fname[tracks[i].displayBuffPos],
						sizeof(tracks[i].displayBuff) - 1);

				tracks[i].displayBuffPos = (tracks[i].displayBuffPos + 1)
						% GUI_VIEW_NUM_CHARS;
			}
		}
		osDelay(500);
	}
}

/*
 * Process the WAV file
 */
void StartWavTask(void *args) {
	for (;;) {
		if (osMutexWait(wav_mutex, 1) == osOK) {
			WAV_process(tracks, &trackControl, numberOfTracks, &progressBar);
			osMutexRelease(wav_mutex);
		}
		osDelay(2);
	}
}
/* USER CODE END 4 */

void HAL_TIM_PeriodElapsedCallback(TIM_HandleTypeDef *htim) {
	if (htim->Instance == TIM6) {
		HAL_IncTick();
	}
}

void Error_Handler(void) {
	__disable_irq();
	while (1) {
	}
}
